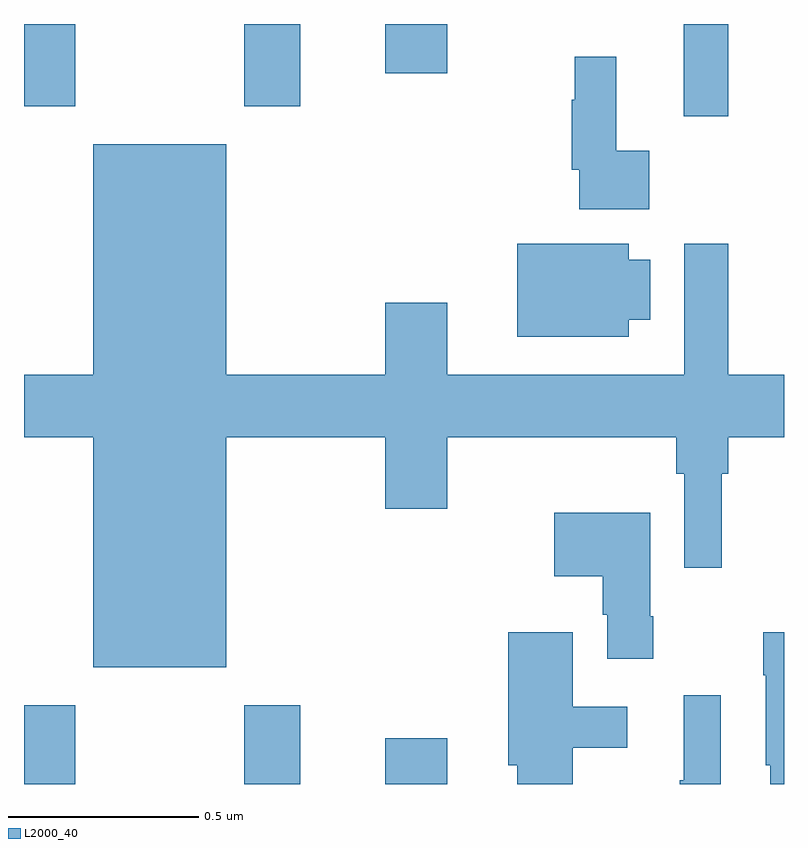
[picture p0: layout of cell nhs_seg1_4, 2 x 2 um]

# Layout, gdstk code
import gdstk
lib = gdstk.Library(unit=1e-6, precision=1e-09)
def R(c, l, rs):  # rectangles x0, y0, x1, y1
    for r in rs: c.add(gdstk.rectangle(r[:2], r[2:], *l))
def P(c, l, *ps):  # polygons
    for p in ps: c.add(gdstk.Polygon(p, *l))
L2000_40 = (2000, 40)

nhs_seg1_4 = lib.new_cell('nhs_seg1_4')
R(nhs_seg1_4, L2000_40, [(111,504.199,111.135,504.406), (111.58,504.199,111.727,504.406), (111.95,504.199,112.114,504.319), (112.736,505.956,112.853,506.199), (111,505.983,111.135,506.199), (111.58,505.983,111.727,506.199), (111.95,506.07,112.114,506.199)])
P(nhs_seg1_4, L2000_40, [(112.645,505.865),(112.559,505.865),(112.559,506.113),(112.449,506.113),(112.449,506),(112.441,506),(112.441,505.816),(112.461,505.816),(112.461,505.712),(112.645,505.712)],
  [(111.532,505.112),(111.95,505.112),(111.95,504.924),(112.114,504.924),(112.114,505.112),(112.717,505.112),(112.717,505.016),(112.737,505.016),(112.737,504.768),(112.836,504.768),(112.836,505.016),(112.853,505.016),(112.853,505.112),(113,505.112),(113,505.276),(112.853,505.276),(112.853,505.621),(112.737,505.621),(112.737,505.276),(112.114,505.276),(112.114,505.465),(111.95,505.465),(111.95,505.276),(111.532,505.276),(111.532,505.882),(111.182,505.882),(111.182,505.276),(111,505.276),(111,505.112),(111.182,505.112),(111.182,504.506),(111.532,504.506)],
  [(112.591,505.421),(112.648,505.421),(112.648,505.579),(112.591,505.579),(112.591,505.621),(112.298,505.621),(112.298,505.376),(112.591,505.376)],
  [(112.656,504.64),(112.648,504.64),(112.648,504.913),(112.395,504.913),(112.395,504.746),(112.523,504.746),(112.523,504.645),(112.535,504.645),(112.535,504.528),(112.656,504.528)],
  [(112.444,504.294),(112.588,504.294),(112.588,504.402),(112.444,504.402),(112.444,504.598),(112.274,504.598),(112.274,504.249),(112.298,504.249),(112.298,504.199),(112.444,504.199)],
  [(113,504.598),(112.945,504.598),(112.945,504.485),(112.952,504.485),(112.952,504.249),(112.964,504.249),(112.964,504.199),(113,504.199)],
  [(112.833,504.433),(112.736,504.433),(112.736,504.209),(112.725,504.209),(112.725,504.199),(112.833,504.199)])

lib.write_gds('nhs_seg1_4.gds')
